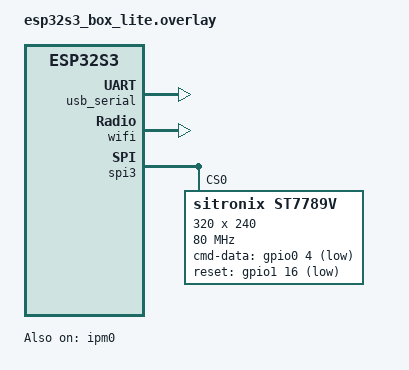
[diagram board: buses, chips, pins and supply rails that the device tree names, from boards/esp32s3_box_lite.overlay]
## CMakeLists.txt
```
# SPDX-License-Identifier: Apache-2.0

cmake_minimum_required(VERSION 3.20.0)

find_package(Zephyr REQUIRED HINTS $ENV{ZEPHYR_BASE})
project(app)

target_sources(app PRIVATE
  src/wifi_service.c
  src/mqtt.c
  src/mqtt_service.c
#   src/lvgl/esp_logo.c
#   src/lvgl/esp_text.c
  src/lvgl/zephyr_logo.c
  src/main.c
  src/display.c
)

if (CONFIG_ESP32_NETWORK_CORE)
set(REMOTE_ZEPHYR_DIR ${CMAKE_CURRENT_BINARY_DIR}/remote-prefix/src/remote-build/zephyr)

set_source_files_properties(${REMOTE_ZEPHYR_DIR}/esp32_net_firmware.c PROPERTIES GENERATED TRUE)
target_sources(app PRIVATE src/main.c ${REMOTE_ZEPHYR_DIR}/esp32_net_firmware.c)

include(ExternalProject)

ExternalProject_Add(
	remote
	SOURCE_DIR ${APPLICATION_SOURCE_DIR}/remote
	INSTALL_COMMAND ""
	CMAKE_CACHE_ARGS -DBOARD:STRING=esp32s3_net
	BUILD_BYPRODUCTS "${REMOTE_ZEPHYR_DIR}/${KERNEL_BIN_NAME}"
	BUILD_ALWAYS True
)

add_dependencies(app remote)

endif()
```

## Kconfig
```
config MQTT_SERVICE_CLIENT_ID
	string "MQTT client ID"
	default "esp32_client"
	help
		MQTT client ID.

config MQTT_SERVICE_SERVER_DOMAIN_NAME
	string "MQTT broker domain name"
	default "localhost"
	help
		MQTT server (broker) domain name.

config MQTT_SERVICE_SERVER_FALLBACK_IP_ADDRESS
	string "MQTT broker fallback IP address"
	default "127.0.0.1"
	help
		MQTT server (broker) IP address which will be used
		as fallback if DNS lookup fails. Take care that correct
		IP protocol address format is used.
		For example, IPv4 address should look like:

		127.0.0.1

config MQTT_SERVICE_SERVER_PORT
	int "MQTT broker port"
	default 1883
	help
		Port on which MQTT broker expects MQTT requests.
		Default port for unencrypted MQTT transport is 1833.
		Default port for encrypted MQTT through TLS transport is 8883.

config MQTT_SERVICE_CONNECTION_TIMEOUT_MS
	int "MQTT connection timeout"
	default 2000
	help
		MQTT service connection timeout in milliseconds.

config MQTT_SERVICE_THREAD_STACK_SIZE
	int "MQTT service thread stack size"
	default 3072
	help
		Stack size used by internal mqtt polling thread.

config MQTT_SERVICE_RX_BUFFER_SIZE
	int "MQTT RX buffer size"
	default 256
	help
		MQTT RX buffer size in bytes.

config MQTT_SERVICE_TX_BUFFER_SIZE
	int "MQTT TX buffer size"
	default 256
	help
		MQTT TX buffer size in bytes.

config MQTT_SERVICE_PAYLOAD_BUFFER_SIZE
	int "MQTT payload buffer size"
	default 1024
	help
		MQTT payload buffer is used for receiving large payload data. This buffer
		is usually used to store data from MQTT_EVT_PUBLISH events.

config WIFI_SSID
	string "Wi-Fi SSID"
	default "lfevents"
	help
		MQTT payload buffer is used for receiving large payload data. This buffer
		is usually used to store data from MQTT_EVT_PUBLISH events.

config WIFI_PSK
	string "Wi-Fi PSK"
	default "linux1991"
	help
		MQTT payload buffer is used for receiving large payload data. This buffer
		is usually used to store data from MQTT_EVT_PUBLISH events.

# Logging subsystem configuration:
module = MQTT_SERVICE
module-str = mqtt_service
source "subsys/logging/Kconfig.template.log_config"

source "Kconfig.zephyr"
```

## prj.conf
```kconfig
CONFIG_NETWORKING=y
CONFIG_TEST_RANDOM_GENERATOR=y

CONFIG_NET_TX_STACK_SIZE=2048
CONFIG_NET_RX_STACK_SIZE=4096

CONFIG_NET_PKT_RX_COUNT=5
CONFIG_NET_PKT_TX_COUNT=5
CONFIG_NET_BUF_RX_COUNT=10
CONFIG_NET_BUF_TX_COUNT=10
CONFIG_NET_MAX_CONTEXTS=5
CONFIG_NET_DHCPV4=y

CONFIG_DNS_RESOLVER=y
CONFIG_NET_IPV4=y
CONFIG_NET_IPV6=n

CONFIG_NET_TCP=y
CONFIG_NET_LOG=y
CONFIG_INIT_STACKS=y

CONFIG_SHELL=y

CONFIG_NET_STATISTICS=n
CONFIG_NET_STATISTICS_PERIODIC_OUTPUT=n

CONFIG_WIFI=y
CONFIG_WIFI_LOG_LEVEL_ERR=n
CONFIG_NET_L2_WIFI_SHELL=n

CONFIG_ESP32_WIFI_STA_AUTO_DHCPV4=y

CONFIG_NET_L2_ETHERNET=y
CONFIG_HEAP_MEM_POOL_SIZE=40000

CONFIG_HWINFO=y

CONFIG_COMMON_LIBC_MALLOC_ARENA_SIZE=2048
CONFIG_SYSTEM_WORKQUEUE_STACK_SIZE=4096

# MQTT TLS
CONFIG_MAIN_STACK_SIZE=2048

# Enable the MQTT Lib
CONFIG_MQTT_LIB=y

CONFIG_NET_MGMT_EVENT_STACK_SIZE=2048
CONFIG_NET_MGMT_EVENT_QUEUE_SIZE=10

# test.mosquitto.org
CONFIG_MQTT_SERVICE_SERVER_DOMAIN_NAME="test.mosquitto.org"
CONFIG_MQTT_SERVICE_SERVER_FALLBACK_IP_ADDRESS="91.121.93.94"
CONFIG_MQTT_SERVICE_SERVER_PORT=1883

CONFIG_NET_TCP_WORKQ_STACK_SIZE=2048

CONFIG_ESP32_WIFI_EVENT_TASK_STACK_SIZE=1024

CONFIG_ESP32_WIFI_IRAM_OPT=y
CONFIG_ESP32_WIFI_RX_IRAM_OPT=y

CONFIG_ESP32_NETWORK_CORE=y

CONFIG_LV_Z_MEM_POOL_NUMBER_BLOCKS=8

CONFIG_DISPLAY=y
CONFIG_DISPLAY_LOG_LEVEL_ERR=n

CONFIG_LOG=y

CONFIG_LVGL=y
CONFIG_LV_MEM_CUSTOM=y
CONFIG_LV_USE_LOG=y
CONFIG_LV_USE_LABEL=y
CONFIG_LV_USE_BTN=y
CONFIG_LV_USE_IMG=y
CONFIG_LV_FONT_MONTSERRAT_14=y

CONFIG_LV_COLOR_16_SWAP=y

CONFIG_EARLY_CONSOLE=y

CONFIG_CBPRINTF_FP_SUPPORT=y

CONFIG_RPMSG_SERVICE=y
CONFIG_RPMSG_SERVICE_MODE_MASTER=y
CONFIG_OPENAMP_SLAVE=n
```

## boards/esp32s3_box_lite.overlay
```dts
/*
 * Copyright (c) 2023 Espressif Systems (Shanghai) Co., Ltd.
 *
 * SPDX-License-Identifier: Apache-2.0
 */

#include <zephyr/dt-bindings/pwm/pwm.h>
#include <dt-bindings/pinctrl/esp32-pinctrl.h>

/ {
	chosen {
		zephyr,console = &usb_serial;
		zephyr,shell-uart = &usb_serial;
		zephyr,display = &st7789v;
		zephyr,ipc_shm = &shm0;
		zephyr,ipc = &ipm0;
	};

};

&usb_serial {
	status = "okay";
};

&wifi {
	status = "okay";
};

&ipm0 {
	status = "okay";
};

&spi3 {
	#address-cells = <1>;
	#size-cells = <0>;
	status = "okay";
	pinctrl-0 = <&spim3_default>;
	pinctrl-names = "default";

		/* Sitronix ST7789V LCD */
	st7789v: st7789v@0 {
		compatible = "sitronix,st7789v";
		reg = <0>;
		spi-max-frequency = <80000000>; /* 8MHz */
		cmd-data-gpios = <&gpio0 4 GPIO_ACTIVE_LOW>;	/* DET */
		reset-gpios = <&gpio1 16 GPIO_ACTIVE_LOW>;	/* RESX reset */

		// landscape
		width = <320>;
		height = <240>;
		x-offset = <0>;
		y-offset = <0>;
		mdac = <0xA7>;

		vcom = <0x19>;
		gctrl = <0x35>;
		vrhs = <0x12>;
		vdvs = <0x20>;
		gamma = <0x01>;
		colmod = <0x05>;
		lcm = <0x2c>;
		porch-param = [0c 0c 00 33 33];
		cmd2en-param = [5a 69 02 01];
		pwctrl1-param = [a4 a1];
		pvgam-param = [D0 04 0D 11 13 2B 3F 54 4C 18 0D 0B 1F 23];
		nvgam-param = [D0 04 0C 11 13 2C 3F 44 51 2F 1F 1F 20 23];
		ram-param = [00 F0];
		rgb-param = [CD 08 14];
	};
};
```

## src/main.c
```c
#include <zephyr/device.h>
#include <zephyr/devicetree.h>
#include <zephyr/data/json.h>
#include <zephyr/kernel.h>
#include <zephyr/ipc/rpmsg_service.h>

#include "project.h"

#include <zephyr/logging/log.h>
LOG_MODULE_REGISTER(cpu0, CONFIG_LOG_DEFAULT_LEVEL);

/* sensor data */
static struct sensor evt_status;

/* RPMsg */
static int ep_id;
struct rpmsg_endpoint my_ept;
struct rpmsg_endpoint *ep = &my_ept;

static uint8_t m_state = WIFI_DISCONNECTED;

static int rpmsg_send_start(void)
{
	uint8_t msg = 0;
	return rpmsg_service_send(ep_id, &msg, 1);
}

void mqtt_response(const char *topic, uint32_t topic_len, const char *msg, uint32_t msg_len)
{
	LOG_INF("topic: %s", topic);
	LOG_INF("msg: %s", msg);
}

int main(void)
{
	char msg[50];

	/* wait endpoint to sync */
	while (!rpmsg_service_endpoint_is_bound(ep_id)) {
		k_sleep(K_MSEC(100));
	}

	/* send initial start command to CPU1 */
	rpmsg_send_start();

	/* update display values */
	lv_motor_gauge_value(evt_status.motor_rpm);
	lv_temp_set_value(evt_status.temp);

	/* init wifi and mqtt */
	wifi_init();
	mqtt_init(mqtt_response);

	for (;;) {

		switch (m_state) {
		case WIFI_DISCONNECTED:
			wifi_connect();
			m_state = WIFI_CONNECTING;
			break;

		case WIFI_CONNECTING:
			if (wifi_connected()) {
				m_state = WIFI_CONNECTED;
			} else {
				m_state = WIFI_DISCONNECTED;
			}
			break;

		case WIFI_CONNECTED:
			if (mqtt_connect_broker() == 0) {
				k_msleep(1000);
				mqtt_subscribe_to(topic_sub, strlen(topic_sub), 0);
				m_state = MQTT_CONNECTED;
			} else {
				m_state = WIFI_CONNECTING;
			}
			break;

		case MQTT_CONNECTED:
			if (!wifi_connected()) {
				mqtt_disconnect_broker();
				m_state = WIFI_DISCONNECTED;
			}

			if (mqtt_connected()) {
				sprintf(msg, "{\"temp\":%0.1f, \"rpm\":%d}", evt_status.temp,
					evt_status.motor_rpm);
				mqtt_publish_to(topic_pub, strlen(topic_pub), msg, strlen(msg), 0);
			} else {
				mqtt_disconnect_broker();
				m_state = WIFI_CONNECTING;
			}
			break;

		default:
			break;
		}

		k_msleep(1000);
	}

	return 0;
}

int endpoint_cb(struct rpmsg_endpoint *ept, void *data, size_t len, uint32_t src, void *priv)
{
	memcpy(&evt_status, data, sizeof(evt_status));
	lv_motor_gauge_value(evt_status.motor_rpm);
	lv_temp_set_value(evt_status.temp);

	return RPMSG_SUCCESS;
}

/* Make sure we register endpoint before RPMsg Service is initialized. */
int register_endpoint(void)
{
	int status;

	status = rpmsg_service_register_endpoint("demo", endpoint_cb);

	if (status < 0) {
		printk("rpmsg_create_ept failed %d\n", status);
		return status;
	}

	ep_id = status;

	return 0;
}

SYS_INIT(register_endpoint, POST_KERNEL, CONFIG_RPMSG_SERVICE_EP_REG_PRIORITY);
```

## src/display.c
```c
#include <inttypes.h>
#include <stddef.h>
#include <stdint.h>

#include <zephyr/device.h>
#include <zephyr/devicetree.h>
#include <zephyr/kernel.h>
#include <zephyr/sys/printk.h>
#include <zephyr/sys/util.h>
#include <zephyr/drivers/display.h>
#include <lvgl.h>

#include "display.h"

static lv_obj_t *meter = NULL;
static lv_meter_indicator_t *indic = NULL;

static lv_obj_t *temp_label = NULL;
static lv_obj_t *wifi_symbol = NULL;
static lv_obj_t *title_label = NULL;
static lv_obj_t *motor_label = NULL;

void lv_motor_gauge_value(int32_t v)
{
	if (meter == NULL || indic == NULL) {
		return;
	}

	lv_meter_set_indicator_value(meter, indic, v);
}

void lv_temp_set_value(float temp)
{
	if (temp_label == NULL) {
		return;
	}

	char val[8];
	sprintf(val, "%0.1f°C", temp);
	lv_label_set_text(temp_label, val);
}

void lv_motor_gauge_display(void)
{
	meter = lv_meter_create(lv_scr_act());
	lv_obj_center(meter);
	lv_obj_set_size(meter, 180, 180);

	/*Add a scale first*/
	lv_meter_scale_t *scale = lv_meter_add_scale(meter);
	lv_meter_set_scale_range(meter, scale, 0, 240, 270, 120);
	lv_meter_set_scale_ticks(meter, scale, 36 + 1, 2, 10, lv_palette_main(LV_PALETTE_GREY));
	lv_meter_set_scale_major_ticks(meter, scale, 6, 4, 15, lv_color_black(), 10);

	/*Add a blue arc to the start*/
	indic = lv_meter_add_arc(meter, scale, 3, lv_palette_main(LV_PALETTE_BLUE), 0);
	lv_meter_set_indicator_start_value(meter, indic, 0);
	lv_meter_set_indicator_end_value(meter, indic, 40);

	/*Make the tick lines blue at the start of the scale*/
	indic = lv_meter_add_scale_lines(meter, scale, lv_palette_main(LV_PALETTE_BLUE),
					 lv_palette_main(LV_PALETTE_BLUE), false, 0);
	lv_meter_set_indicator_start_value(meter, indic, 0);
	lv_meter_set_indicator_end_value(meter, indic, 40);

	/*Add a red arc to the end*/
	indic = lv_meter_add_arc(meter, scale, 3, lv_palette_main(LV_PALETTE_RED), 0);
	lv_meter_set_indicator_start_value(meter, indic, 200);
	lv_meter_set_indicator_end_value(meter, indic, 240);

	/*Make the tick lines red at the end of the scale*/
	indic = lv_meter_add_scale_lines(meter, scale, lv_palette_main(LV_PALETTE_RED),
					 lv_palette_main(LV_PALETTE_RED), false, 0);
	lv_meter_set_indicator_start_value(meter, indic, 200);
	lv_meter_set_indicator_end_value(meter, indic, 240);

	/*Add a needle line indicator*/
	indic = lv_meter_add_needle_line(meter, scale, 4, lv_palette_main(LV_PALETTE_GREY), -10);
}

static void display_task(void)
{
	const struct device *display_dev;
	lv_obj_t *hello_world_label;
	lv_obj_t *count_label;

	display_dev = DEVICE_DT_GET(DT_CHOSEN(zephyr_display));
	if (!device_is_ready(display_dev)) {
		printk("Device not ready, aborting test");
		return;
	}

	LV_IMG_DECLARE(zephyr_summit);
	// LV_IMG_DECLARE(esp_logo);
	// LV_IMG_DECLARE(esp_text);
	lv_obj_t *img_zephyr;
	// lv_obj_t *img_esp;
	// lv_obj_t *img_esp_text;

	// img_esp = lv_img_create(lv_scr_act());
	// lv_img_set_src(img_esp, &esp_logo);
	// lv_obj_align(img_esp, LV_ALIGN_CENTER, 0, -30);

	// img_esp_text = lv_img_create(lv_scr_act());
	// lv_img_set_src(img_esp_text, &esp_text);
	// lv_obj_align(img_esp_text, LV_ALIGN_BOTTOM_MID, 0, -40);

	// k_msleep(2000);
	display_blanking_off(display_dev);

	lv_obj_clean(lv_scr_act());
	img_zephyr = lv_img_create(lv_scr_act());
	lv_img_set_src(img_zephyr, &zephyr_summit);
	lv_obj_align(img_zephyr, LV_ALIGN_TOP_LEFT, 0, 0);

	lv_task_handler();

	k_msleep(5000);
	lv_obj_clean(lv_scr_act());

	temp_label = lv_label_create(lv_scr_act());
	lv_obj_align(temp_label, LV_ALIGN_TOP_RIGHT, -30, 5);

	wifi_symbol = lv_label_create(lv_scr_act());
	lv_obj_align(wifi_symbol, LV_ALIGN_TOP_RIGHT, -5, 5);
	lv_label_set_text(wifi_symbol, LV_SYMBOL_WIFI);

	title_label = lv_label_create(lv_scr_act());
	lv_obj_align(title_label, LV_ALIGN_TOP_LEFT, 100, 5);
	// char val[30] = "Zephyr Summit Demo";
	char val[30] = "ZEPHYR SUMMIT";
	lv_label_set_text(title_label, val);

	motor_label = lv_label_create(lv_scr_act());
	lv_obj_align(motor_label, LV_ALIGN_BOTTOM_MID, 0, -10);
	// char val[30] = "Zephyr Summit Demo";
	char rpm[30] = "RPM";
	lv_label_set_text(motor_label, rpm);

	/*Create an array for the points of the line*/
    static lv_point_t line_points[] = { {0, 25}, {318, 25}};

    /*Create a line and apply the new style*/
    lv_obj_t *line = lv_line_create(lv_scr_act());
    lv_line_set_points(line, line_points, 2);     /*Set the points*/

	lv_task_handler();
	lv_motor_gauge_display();

	for (;;) {
		lv_task_handler();
		k_sleep(K_MSEC(100));
	}
}

K_THREAD_DEFINE(display_thread, 3072, display_task, NULL, NULL, NULL, 5, 0, 0);
```

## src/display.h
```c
#ifndef __DISPLAY_H__
#define __DISPLAY_H__

void lv_motor_gauge_value(int32_t v);
void lv_temp_set_value(float temp);
#endif
```

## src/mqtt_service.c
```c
#include <zephyr/drivers/hwinfo.h>
#include <zephyr/kernel.h>
#include <zephyr/logging/log.h>
#include <zephyr/net/dns_resolve.h>
#include <zephyr/net/mqtt.h>
#include <zephyr/net/socket.h>
#include <zephyr/random/rand32.h>
#include <zephyr/sys/util.h>

#include "mqtt_service.h"

LOG_MODULE_REGISTER(mqtt_service, CONFIG_MQTT_SERVICE_LOG_LEVEL);

#define MQTT_SERVICE_KEEP_ALIVE_TIMEOUT 60000

#define MQTT_SERVICE_DNS_TIMEOUT (2 * MSEC_PER_SEC)

#define MQTT_SERVICE_IP_ADDR_STRING_LEN NET_IPV4_ADDR_LEN

#define MQTT_SERVICE_UID_LENGTH (12u)

static int32_t mqtt_service_client_init(struct mqtt_client *client);

static int32_t mqtt_service_client_connect(void);

static void mqtt_service_evt_handler(struct mqtt_client *const client, const struct mqtt_evt *evt);

/* MQTT client struct */
static struct mqtt_client client_ctx;

/* MQTT broker details. */
static struct sockaddr mqtt_broker;

/* MQTT sync connection flags */
static atomic_t disconnect_requested;
static atomic_t connection_poll_active;
static atomic_t broker_disconnected = ATOMIC_INIT(1);

/* RX and TX buffers */
static uint8_t rx_buffer[CONFIG_MQTT_SERVICE_RX_BUFFER_SIZE];
static uint8_t tx_buffer[CONFIG_MQTT_SERVICE_TX_BUFFER_SIZE];

static uint8_t payload[CONFIG_MQTT_SERVICE_PAYLOAD_BUFFER_SIZE];

/* MQTT topic and subscription list */
static struct mqtt_topic subs_topic;
static struct mqtt_subscription_list subs_list;

/* MQTT message ID counter (valid values start from 1) */
static uint16_t message_id = 1u;

/** Semaphore for starting MQTT service connection */
static K_SEM_DEFINE(connection_poll_sem, 0, 1);

/** User callback for reporting events to application layer */
static mqtt_service_evt_cb_t user_cb;

int32_t mqtt_service_init(mqtt_service_evt_cb_t cb)
{
	if (NULL == cb) {
		return -EINVAL;
	}

	user_cb = cb;

	return mqtt_service_client_init(&client_ctx);
}

int32_t mqtt_service_connect(void)
{
	if (atomic_get(&connection_poll_active)) {
		LOG_DBG("Connection poll in progress");
		return -EINPROGRESS;
	}

	atomic_set(&disconnect_requested, 0);
	k_sem_give(&connection_poll_sem);

	return 0;
}

int32_t mqtt_service_disconnect(void)
{
	int32_t err = 0;

	atomic_set(&disconnect_requested, 1);

	err = mqtt_disconnect(&client_ctx);

	return err;
}

int32_t mqtt_service_publish(const uint8_t *p_topic, uint32_t topic_len, uint8_t *p_payload,
			     uint32_t payload_len, uint8_t qos)
{
	if (atomic_get(&broker_disconnected) == 1) {
		LOG_WRN("Not connected. Unable to publish!");
		return -ENETDOWN;
	}

	int32_t ret = 0;
	struct mqtt_publish_param publish_params;

	publish_params.message.topic.qos = qos;
	publish_params.message.topic.topic.utf8 = p_topic;
	publish_params.message.topic.topic.size = topic_len;
	publish_params.message.payload.data = p_payload;
	publish_params.message.payload.len = payload_len;
	publish_params.dup_flag = 0U;
	publish_params.retain_flag = 0U;
	publish_params.message_id = message_id++; // sys_rand32_get(); // Message ID?
	// Value of 0 for message ID is forbidden
	if (0 == message_id) {
		message_id = 1u;
	}

	ret = mqtt_publish(&client_ctx, &publish_params);

	if (ret) {
		// LOG_ERR("Failed to publish to %.*s, err: %d", topic_len, p_topic, ret);
	} else {
		ret = publish_params.message_id;
	}

	return ret;
}

int32_t mqtt_service_subscribe(const uint8_t *p_topic, uint32_t topic_len, uint8_t qos)
{
	int32_t err;

	subs_topic.topic.utf8 = p_topic;
	subs_topic.topic.size = topic_len;
	subs_topic.qos = qos;
	subs_list.list = &subs_topic;
	subs_list.list_count = 1U;
	subs_list.message_id = message_id++;
	// Value of 0 for message ID is forbidden
	if (0 == message_id) {
		message_id = 1u;
	}

	err = mqtt_subscribe(&client_ctx, &subs_list);
	if (err) {
		// LOG_ERR("Failed subscribing to topic %s", p_topic);
	}

	return err;
}

int32_t mqtt_service_unsubscribe(const uint8_t *p_topic, uint32_t topic_len)
{
	int32_t err;

	subs_topic.topic.utf8 = p_topic;
	subs_topic.topic.size = topic_len;
	subs_list.list = &subs_topic;
	subs_list.list_count = 1U;
	subs_list.message_id = message_id++;
	// Value of 0 for message ID is forbidden
	if (0 == message_id) {
		message_id = 1u;
	}

	err = mqtt_unsubscribe(&client_ctx, &subs_list);
	if (err) {
		// LOG_ERR("Failed unsubscribing from topic %s", p_topic);
	}

	return err;
}

//---------------------------- PRIVATE FUNCTIONS ------------------------------

static int broker_init(void)
{
	int err;
	struct zsock_addrinfo *result;
	struct zsock_addrinfo *addr;
	struct zsock_addrinfo hints = {.ai_family = AF_INET, .ai_socktype = SOCK_STREAM};

	LOG_INF("Resolving: %s", CONFIG_MQTT_SERVICE_SERVER_DOMAIN_NAME);

	err = zsock_getaddrinfo(CONFIG_MQTT_SERVICE_SERVER_DOMAIN_NAME, NULL, &hints, &result);
	if (err) {
		// LOG_ERR("getaddrinfo, error %d", err);
		return -ECHILD;
	}

	addr = result;

	/* Look for address of the broker. */
	while (addr != NULL) {
		/* IPv4 Address. */
		if (addr->ai_addrlen == sizeof(struct sockaddr_in)) {
			struct sockaddr_in *broker4 = ((struct sockaddr_in *)&mqtt_broker);
			char ipv4_addr[NET_IPV4_ADDR_LEN];

			broker4->sin_addr.s_addr =
				((struct sockaddr_in *)addr->ai_addr)->sin_addr.s_addr;
			broker4->sin_family = AF_INET;
			broker4->sin_port = htons(CONFIG_MQTT_SERVICE_SERVER_PORT);

			inet_ntop(AF_INET, &broker4->sin_addr.s_addr, ipv4_addr, sizeof(ipv4_addr));
			LOG_INF("IPv4 Address found %s", ipv4_addr);

			break;
		} else {
			LOG_ERR("ai_addrlen = %u should be %u or %u",
				(unsigned int)addr->ai_addrlen,
				(unsigned int)sizeof(struct sockaddr_in),
				(unsigned int)sizeof(struct sockaddr_in6));
		}

		addr = addr->ai_next;
	}

	/* Free the address. */
	zsock_freeaddrinfo(result);
	return err;
}

#if defined(CONFIG_MQTT_LIB_TLS)

#if defined(CONFIG_TLS_CREDENTIAL_FILENAMES)
static const unsigned char ca_certificate[] = "ca.der";
static const unsigned char server_certificate[] = "device.der";
static const unsigned char private_key[] = "device.key";
#else
static const unsigned char ca_certificate[] = {
#include "ca.der.inc"
};
static const unsigned char server_certificate[] = {
#include "device.der.inc"
};
static const unsigned char private_key[] = {
#include "device_key.der.inc"
};
#endif

#define APP_CA_CERT_TAG 1

static sec_tag_t m_sec_tags[] = {
	APP_CA_CERT_TAG,
};

static int tls_init(struct mqtt_client *client)
{
	int err = -EINVAL;

	err = tls_credential_add(APP_CA_CERT_TAG, TLS_CREDENTIAL_CA_CERTIFICATE, ca_certificate,
				 sizeof(ca_certificate));
	if (err != 0) {
		// LOG_ERR("Failed to register ca certificate: %d", err);
		return err;
	}

	err = tls_credential_add(APP_CA_CERT_TAG, TLS_CREDENTIAL_SERVER_CERTIFICATE,
				 server_certificate, sizeof(server_certificate));
	if (err < 0) {
		// LOG_ERR("Failed to register server certificate: %d", err);
	}

	err = tls_credential_add(APP_CA_CERT_TAG, TLS_CREDENTIAL_PRIVATE_KEY, private_key,
				 sizeof(private_key));
	if (err < 0) {
		// LOG_ERR("Failed to register private key: %d", err);
	}

	client->transport.type = MQTT_TRANSPORT_SECURE;

	struct mqtt_sec_config *tls_config = &client->transport.tls.config;

	tls_config->peer_verify = TLS_PEER_VERIFY_NONE;
	tls_config->cipher_list = NULL;
	tls_config->sec_tag_list = m_sec_tags;
	tls_config->sec_tag_count = ARRAY_SIZE(m_sec_tags);
	tls_config->hostname = CONFIG_MQTT_SERVICE_SERVER_DOMAIN_NAME;
	tls_config->cert_nocopy = TLS_CERT_NOCOPY_OPTIONAL;

	return err;
}

#endif // CONFIG_MQTT_LIB_TLS

static int32_t mqtt_service_client_init(struct mqtt_client *client)
{
	// UID length on STM32 MCUs is 12 bytes
	uint8_t client_id[MQTT_SERVICE_UID_LENGTH];
	// 12 UID bytes (represented in hex) * 2 (one byte = 2 hex characters) +
	// string null termination
	static uint8_t client_id_string[(2u * MQTT_SERVICE_UID_LENGTH) + 1u];
	int32_t err = 0;

	// Prepare MQTT client structure for initializing its values
	mqtt_client_init(client);

	/* MQTT client configuration */
	client->broker = &mqtt_broker;
	client->evt_cb = mqtt_service_evt_handler;

	size_t hwinfo_size_read;
	// Get device serial number in binary (byte) representation
	hwinfo_size_read = hwinfo_get_device_id(client_id, sizeof(client_id));

	// LOG_HEXDUMP_INF(client_id, hwinfo_size_read, "Device ID");

	// Convert device serial number from binary (byte) to hex string
	// representation
	(void)bin2hex((const uint8_t *)client_id, sizeof(client_id), client_id_string,
		      sizeof(client_id_string));

	// LOG_INF("Device ID String: %s", client_id_string);

	client->client_id.utf8 = (const uint8_t *)client_id_string;
	client->client_id.size = strlen(client_id_string);
	client->password = NULL;
	client->user_name = NULL;
	client->protocol_version = MQTT_VERSION_3_1_1;

	/* MQTT buffers configuration */
	client->rx_buf = rx_buffer;
	client->rx_buf_size = sizeof(rx_buffer);
	client->tx_buf = tx_buffer;
	client->tx_buf_size = sizeof(tx_buffer);

	/* MQTT transport configuration */
#if defined(CONFIG_MQTT_LIB_TLS)
	tls_init(client);
#else
	client->transport.type = MQTT_TRANSPORT_NON_SECURE;
#endif

	return err;
}

static void mqtt_service_evt_handler(struct mqtt_client *const client, const struct mqtt_evt *evt)
{
	mqtt_service_event_t event;

	switch (evt->type) {
	case MQTT_EVT_CONNACK:
		event.type = MQTT_SERVICE_EVT_CONNECTED;

		if (evt->result != 0) {
			// LOG_ERR("MQTT connect failed %d", evt->result);
			break;
		}

		LOG_DBG("MQTT client connected!");

		user_cb(&event);

		break;

	case MQTT_EVT_DISCONNECT:
		event.type = MQTT_SERVICE_EVT_DISCONNECTED;

		atomic_set(&broker_disconnected, 1);

		LOG_DBG("MQTT client disconnected %d", evt->result);

		event.data.disc_reason = MQTT_SERVICE_DISCONNECT_OTHER;

		if (atomic_get(&disconnect_requested)) {
			LOG_DBG("User triggered disconnect");
			event.data.disc_reason = MQTT_SERVICE_DISCONNECT_USER_REQUEST;
		}

		user_cb(&event);

		break;

	case MQTT_EVT_PUBACK:
		event.type = MQTT_SERVICE_EVT_BROKER_ACK;

		if (evt->result != 0) {
			// LOG_ERR("MQTT PUBACK error %d", evt->result);
			break;
		}

		event.data.ack.message_id = evt->param.puback.message_id;

		LOG_DBG("PUBACK packet id: %u", evt->param.puback.message_id);

		user_cb(&event);

		break;

	case MQTT_EVT_SUBACK:
		LOG_DBG("SUBACK packet");
		break;

	case MQTT_EVT_UNSUBACK:
		LOG_DBG("UNSUBACK packet");
		break;

	case MQTT_EVT_PUBLISH: {
		event.type = MQTT_SERVICE_EVT_DATA_RECEIVED;

		int32_t len;
		int32_t bytes_read;

		len = evt->param.publish.message.payload.len;

		LOG_DBG("MQTT publish received %d, %d bytes", evt->result, len);
		LOG_DBG(" id: %d, qos: %d", evt->param.publish.message_id,
			evt->param.publish.message.topic.qos);

		while (len > 0) {
			bytes_read = mqtt_read_publish_payload(
				&client_ctx, payload,
				len > sizeof(payload) ? sizeof(payload) : len);
			if (bytes_read < 0 && bytes_read != -EAGAIN) {
				// LOG_ERR("Failed to read payload");
				break;
			}

			payload[bytes_read] = '\0';
			LOG_HEXDUMP_DBG(payload, bytes_read, "MQTT message payload:");
			len -= bytes_read;

			event.data.publish.message_id = evt->param.publish.message_id;
			event.data.publish.p_topic_name =
				evt->param.publish.message.topic.topic.utf8;
			event.data.publish.topic_name_length =
				evt->param.publish.message.topic.topic.size;
			event.data.publish.p_msg_data = payload;
			event.data.publish.msg_length = evt->param.publish.message.payload.len;

			user_cb(&event);
		}

		if (evt->param.publish.message.topic.qos == MQTT_QOS_1_AT_LEAST_ONCE) {
			struct mqtt_puback_param puback = {.message_id =
								   evt->param.publish.message_id};

			mqtt_publish_qos1_ack(&client_ctx, &puback);
		} else if (evt->param.publish.message.topic.qos == MQTT_QOS_2_EXACTLY_ONCE) {
			struct mqtt_pubrec_param pubrec = {.message_id =
								   evt->param.publish.message_id};

			mqtt_publish_qos2_receive(&client_ctx, &pubrec);
		}

		break;
	}

	case MQTT_EVT_PUBREC: {
		struct mqtt_pubrel_param pubrel = {.message_id = evt->param.pubrec.message_id};

		mqtt_publish_qos2_release(&client_ctx, &pubrel);

		break;
	}

	case MQTT_EVT_PUBREL: {
		struct mqtt_pubcomp_param pubcomp = {.message_id = evt->param.pubrel.message_id};

		mqtt_publish_qos2_complete(&client_ctx, &pubcomp);
	}

	default:
		break;
	}
}

static int32_t mqtt_service_client_connect(void)
{
	int err;

	broker_init();

	err = mqtt_connect(&client_ctx);
	if (err) {
		// LOG_ERR("mqtt_connect, error: %d", err);
		return err;
	}

	return 0;
}

static void mqtt_service_poll(void)
{
	int err;
	struct zsock_pollfd fds[1];
	mqtt_service_event_t event = {.type = MQTT_SERVICE_EVT_DISCONNECTED};

start:
	k_sem_take(&connection_poll_sem, K_FOREVER);
	atomic_set(&connection_poll_active, 1);

	err = mqtt_service_client_connect();
	if (err) {
		goto reset;
	}

	LOG_DBG("MQTT broker connection request sent");

	fds[0].fd = client_ctx.transport.tcp.sock;
	fds[0].events = ZSOCK_POLLIN;

	atomic_set(&broker_disconnected, 0);

	while (true) {
		err = zsock_poll(fds, ARRAY_SIZE(fds), mqtt_keepalive_time_left(&client_ctx));

		/* If poll returns 0 the timeout has expired. */
		if (err == 0) {
			err = mqtt_ping(&client_ctx);
			if (err) {
				// LOG_ERR("Cloud MQTT keepalive ping failed: %d", err);
				break;
			}
			continue;
		}

		if ((fds[0].revents & ZSOCK_POLLIN) == ZSOCK_POLLIN) {
			err = mqtt_input(&client_ctx);
			if (err) {
				// LOG_ERR("Cloud MQTT input error: %d", err);
				if (err == -ENOTCONN) {
					break;
				}
			}

			if (atomic_get(&broker_disconnected) == 1) {
				LOG_DBG("The cloud socket is already closed.");
				break;
			}

			continue;
		}

		if (err < 0) {
			// LOG_ERR("poll() returned an error: %d", err);
			event.data.disc_reason = MQTT_SERVICE_DISCONNECT_OTHER;
			break;
		}

		if ((fds[0].revents & ZSOCK_POLLNVAL) == ZSOCK_POLLNVAL) {
			LOG_DBG("Socket error: POLLNVAL");
			LOG_DBG("The cloud socket was unexpectedly closed.");
			event.data.disc_reason = MQTT_SERVICE_DISCONNECT_INVALID_REQUEST;
			break;
		}

		if ((fds[0].revents & ZSOCK_POLLHUP) == ZSOCK_POLLHUP) {
			LOG_DBG("Socket error: POLLHUP");
			LOG_DBG("Connection was closed by the cloud.");
			event.data.disc_reason = MQTT_SERVICE_DISCONNECT_CLOSED_BY_REMOTE;
			break;
		}

		if ((fds[0].revents & ZSOCK_POLLERR) == ZSOCK_POLLERR) {
			LOG_DBG("Socket error: POLLERR");
			LOG_DBG("Cloud connection was unexpectedly closed.");
			event.data.disc_reason = MQTT_SERVICE_DISCONNECT_OTHER;
			break;
		}
	}

	/* Upon a socket error, disconnect the client and notify the
	 * application. If the client has already been disconnected this has
	 * occurred via a MQTT DISCONNECT event and the application has
	 * already been notified.
	 */
	if (atomic_get(&broker_disconnected) == 0) {
		user_cb(&event);
		err = mqtt_disconnect(&client_ctx);
		if (err) {
			// LOG_ERR("mqtt_disconnect fail, err: %d", err);
		}
	}

reset:
	atomic_set(&connection_poll_active, 0);
	k_sem_take(&connection_poll_sem, K_NO_WAIT);
	goto start;
}

K_THREAD_DEFINE(mqtt_poll_thread, CONFIG_MQTT_SERVICE_THREAD_STACK_SIZE, mqtt_service_poll, NULL,
		NULL, NULL, K_LOWEST_APPLICATION_THREAD_PRIO, 0, 0);
```

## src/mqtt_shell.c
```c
#include <ctype.h>
#include <stdio.h>
#include <stdlib.h>
#include <string.h>

#include <zephyr/init.h>
#include <zephyr/logging/log.h>
#include <zephyr/shell/shell.h>
#include <zephyr/sys/printk.h>

#include <zephyr/net/socket.h>
#include <zephyr/net/mqtt.h>

#include "mqtt_service.h"

#define LOG_LEVEL CONFIG_LOG_DEFAULT_LEVEL

LOG_MODULE_REGISTER(mqtt_shell);

static int cmd_mqtt_connect(const struct shell *sh, size_t argc, char **argv)
{
	int ret = mqtt_service_connect();
	if (ret) {
		shell_error(sh, "Failed to connect to mqtt server, err: %d", ret);
	}

	return 0;
}

static int cmd_mqtt_disconnect(const struct shell *sh, size_t argc, char **argv)
{
	int ret = mqtt_service_disconnect();
	if (ret) {
		shell_error(sh, "Failed to disconnect from mqtt server, err: %d", ret);
	}

	return 0;
}

static int cmd_mqtt_publish(const struct shell *sh, size_t argc, char **argv)
{
	uint8_t qos = 0;

	if (argc > 3) {
		qos = atoi(argv[3]);

		if (qos < 0 || qos > 2) {
			shell_error(sh, "QoS should be in range [0,2]");
			return -EINVAL;
		}
	}

	shell_info(sh, "Publishing %s to %s topic with QoS: %d", argv[2], argv[1], qos);

	mqtt_service_publish(argv[1], strlen(argv[1]), argv[2], strlen(argv[2]), qos);

	return 0;
}

static int cmd_mqtt_subscribe(const struct shell *sh, size_t argc, char **argv)
{
	uint8_t qos = 0;

	if (argc > 2) {
		qos = atoi(argv[2]);

		if (qos < 0 || qos > 2) {
			shell_error(sh, "QoS should be in range [0,2]");
			return -EINVAL;
		}
	}

	shell_info(sh, "Subscribing to %s topic with QoS: %d", argv[1], qos);

	mqtt_service_subscribe(argv[1], strlen(argv[1]), qos);

	return 0;
}

static int cmd_mqtt_unsubscribe(const struct shell *sh, size_t argc, char **argv)
{
	shell_info(sh, "Unsubscribing from %s topic.", argv[1]);

	mqtt_service_unsubscribe(argv[1], strlen(argv[1]));

	return 0;
}

SHELL_STATIC_SUBCMD_SET_CREATE(
	sub_mqtt_shell,

	SHELL_CMD_ARG(connect, NULL, "Connect MQTT", cmd_mqtt_connect, 1, 0),
	SHELL_CMD_ARG(disconnect, NULL, "Disconnect MQTT", cmd_mqtt_disconnect, 1, 0),
	SHELL_CMD_ARG(publish, NULL, "Publish to mqtt topic", cmd_mqtt_publish, 3, 1),
	SHELL_CMD_ARG(subscribe, NULL, "Subscribe to mqtt topic", cmd_mqtt_subscribe, 2, 1),
	SHELL_CMD_ARG(unsubscribe, NULL, "Unsubscribe to mqtt topic", cmd_mqtt_unsubscribe, 2, 0),

	SHELL_SUBCMD_SET_END /* Array terminated. */
);

SHELL_CMD_REGISTER(mqtt, &sub_mqtt_shell, "mqtt commands", NULL);
```

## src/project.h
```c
#ifndef _PROJECT_H_
#define _PROJECT_H_

#include <stdio.h>
#include <string.h>
#include <stdint.h>

#include "mqtt.h"
#include "wifi_service.h"
#include "display.h"

enum {
	WIFI_DISCONNECTED,
	WIFI_CONNECTING,
	WIFI_CONNECTED,
	MQTT_DISCONNECTED,
	MQTT_CONNECTED
};

const char topic_pub[] = "z/event/temp";
const char topic_sub[] = "z/event/cmd";

struct sensor {
	uint32_t motor_rpm;
	float temp;
};

#endif
```

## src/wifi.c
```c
#include <zephyr/kernel.h>
#include <errno.h>

#include <zephyr/net/net_if.h>
#include <zephyr/net/wifi_mgmt.h>
#include <zephyr/net/net_event.h>

#include "mqtt_service.h"

#include <zephyr/logging/log.h>
LOG_MODULE_REGISTER(wifi_sample, LOG_LEVEL_INF);

/* clang-format off */
#define WIFI_SAMPLE_MGMT_EVENTS (NET_EVENT_WIFI_SCAN_RESULT |		\
				NET_EVENT_WIFI_SCAN_DONE |		\
				NET_EVENT_WIFI_CONNECT_RESULT |		\
				NET_EVENT_WIFI_DISCONNECT_RESULT |  \
				NET_EVENT_WIFI_TWT)
/* clang-format on */

static struct net_mgmt_event_callback wifi_sample_mgmt_cb;

static struct {
	const struct shell *sh;
	union {
		struct {
			uint8_t connecting: 1;
			uint8_t disconnecting: 1;
			uint8_t _unused: 6;
		};
		uint8_t all;
	};
} context;

static uint32_t scan_result;

char *net_byte_to_hex_glob(char *ptr, uint8_t byte, char base, bool pad)
{
	int i, val;

	for (i = 0, val = (byte & 0xf0) >> 4; i < 2; i++, val = byte & 0x0f) {
		if (i == 0 && !pad && !val) {
			continue;
		}
		if (val < 10) {
			*ptr++ = (char)(val + '0');
		} else {
			*ptr++ = (char)(val - 10 + base);
		}
	}

	*ptr = '\0';

	return ptr;
}

char *net_sprint_ll_addr_buf_glob(const uint8_t *ll, uint8_t ll_len, char *buf, int buflen)
{
	uint8_t i, len, blen;
	char *ptr = buf;

	if (ll == NULL) {
		return "<unknown>";
	}

	switch (ll_len) {
	case 8:
		len = 8U;
		break;
	case 6:
		len = 6U;
		break;
	case 2:
		len = 2U;
		break;
	default:
		len = 6U;
		break;
	}

	for (i = 0U, blen = buflen; i < len && blen > 0; i++) {
		ptr = net_byte_to_hex_glob(ptr, (char)ll[i], 'A', true);
		*ptr++ = ':';
		blen -= 3U;
	}

	if (!(ptr - buf)) {
		return NULL;
	}

	*(ptr - 1) = '\0';
	return buf;
}

static void handle_wifi_scan_result(struct net_mgmt_event_callback *cb)
{
	const struct wifi_scan_result *entry = (const struct wifi_scan_result *)cb->info;
	uint8_t mac_string_buf[sizeof("xx:xx:xx:xx:xx:xx")];

	scan_result++;

	if (scan_result == 1U) {
		LOG_INF("%-4s | %-32s %-5s | %-13s | %-4s | %-15s | %s", "Num", "SSID", "(len)",
			"Chan (Band)", "RSSI", "Security", "BSSID");
	}

	LOG_INF("%-4d | %-32s %-5u | %-4u (%-6s) | %-4d | %-15s | %s", scan_result, entry->ssid,
		entry->ssid_length, entry->channel, wifi_band_txt(entry->band), entry->rssi,
		wifi_security_txt(entry->security),
		((entry->mac_length)
			 ? net_sprint_ll_addr_buf_glob(entry->mac, WIFI_MAC_ADDR_LEN,
						       mac_string_buf, sizeof(mac_string_buf))
			 : ""));
}

static void handle_wifi_scan_done(struct net_mgmt_event_callback *cb)
{
	const struct wifi_status *status = (const struct wifi_status *)cb->info;

	if (status->status) {
		LOG_INF("Scan request failed (%d)", status->status);
	} else {
		LOG_INF("Scan request done");
	}

	scan_result = 0U;
}

static void handle_wifi_connect_result(struct net_mgmt_event_callback *cb)
{
	const struct wifi_status *status = (const struct wifi_status *)cb->info;

	if (status->status) {
		LOG_INF("Connection request failed (%d)", status->status);
	} else {
		LOG_INF("Connected");
	}

	context.connecting = false;
}

static void handle_wifi_disconnect_result(struct net_mgmt_event_callback *cb)
{
	const struct wifi_status *status = (const struct wifi_status *)cb->info;

	if (context.disconnecting) {
		LOG_INF("Disconnection request %s (%d)", status->status ? "failed" : "done",
			status->status);
		context.disconnecting = false;
	} else {
		LOG_INF("Disconnected");
	}
}

static void handle_wifi_twt_event(struct net_mgmt_event_callback *cb)
{
	const struct wifi_twt_params *resp = (const struct wifi_twt_params *)cb->info;

	if (resp->resp_status == WIFI_TWT_RESP_RECEIVED) {
		LOG_INF("TWT response: %s for dialog: %d and flow: %d",
			wifi_twt_setup_cmd2str[resp->setup_cmd], resp->dialog_token, resp->flow_id);

		/* If accepted, then no need to print TWT params */
		if (resp->setup_cmd != WIFI_TWT_SETUP_CMD_ACCEPT) {
			LOG_INF("TWT parameters: trigger: %s wake_interval: %d us, interval: %lld "
				"us",
				resp->setup.trigger ? "trigger" : "no_trigger",
				resp->setup.twt_wake_interval, resp->setup.twt_interval);
		}
	} else {
		LOG_INF("TWT response timed out");
	}
}

static void wifi_mgmt_event_handler(struct net_mgmt_event_callback *cb, uint32_t mgmt_event,
				    struct net_if *iface)
{
	switch (mgmt_event) {
	case NET_EVENT_WIFI_SCAN_RESULT:
		handle_wifi_scan_result(cb);
		break;
	case NET_EVENT_WIFI_SCAN_DONE:
		handle_wifi_scan_done(cb);
		break;
	case NET_EVENT_WIFI_CONNECT_RESULT:
		handle_wifi_connect_result(cb);
		break;
	case NET_EVENT_WIFI_DISCONNECT_RESULT:
		handle_wifi_disconnect_result(cb);
		break;
	case NET_EVENT_WIFI_TWT:
		handle_wifi_twt_event(cb);
		break;
	default:
		break;
	}
}

static void mqtt_service_user_cb(mqtt_service_event_t *evt)
{
	switch (evt->type) {
	case MQTT_SERVICE_EVT_CONNECTED:
		LOG_INF("MQTT Client connected!");
		break;

	case MQTT_SERVICE_EVT_DISCONNECTED:
		LOG_WRN("MQTT Client disconnected! Reason: %d", evt->data.disc_reason);
		break;

	case MQTT_SERVICE_EVT_BROKER_ACK:
		LOG_INF("MQTT Broker has acknowledged message, MID = %d", evt->data.ack.message_id);
		break;

	case MQTT_SERVICE_EVT_DATA_RECEIVED:
		LOG_INF("Received %d bytes from topic: %.*s", evt->data.publish.msg_length,
			evt->data.publish.topic_name_length, evt->data.publish.p_topic_name);
		LOG_HEXDUMP_INF(evt->data.publish.p_msg_data, evt->data.publish.msg_length,
				"Message");
		break;

	default:
		LOG_WRN("Uknown event from MQTT service module");
		break;
	}
}

void mqtt_init(void)
{
	net_mgmt_init_event_callback(&wifi_sample_mgmt_cb, wifi_mgmt_event_handler,
				     WIFI_SAMPLE_MGMT_EVENTS);

	net_mgmt_add_event_callback(&wifi_sample_mgmt_cb);

	int err = 0;

	err = mqtt_service_init(mqtt_service_user_cb);
	if (err) {
		LOG_ERR("Failed to initialize MQTT service");
	}
}
```
